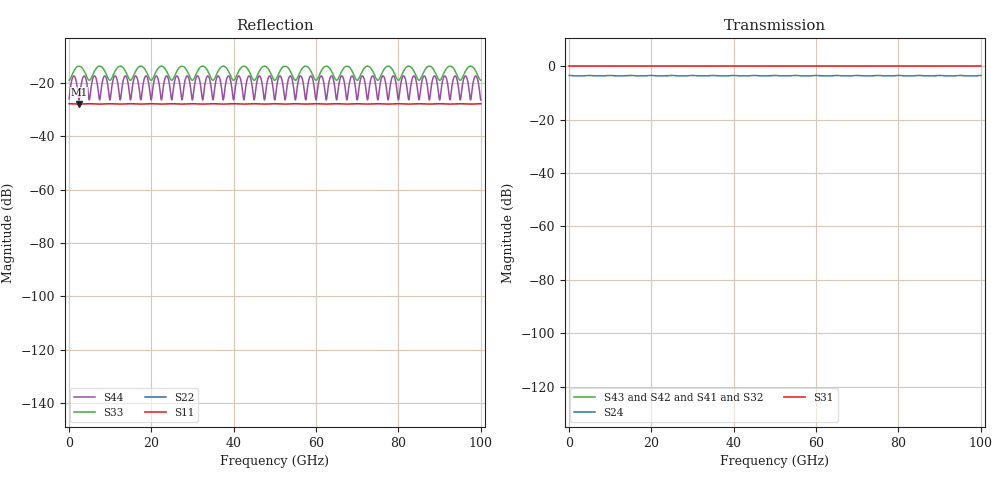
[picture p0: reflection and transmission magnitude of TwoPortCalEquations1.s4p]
! File created by SignalIntegrity v1.1.4: Signal and Power Integrity Tools
! https://github.com/TeledyneLeCroy/SignalIntegrity
# MHz MA S R 50.0
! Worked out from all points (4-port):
!   1000 points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, 100 MHz to 100 GHz, reference 50 ohm
!   strongest paths, dB at 100 MHz, 25.1 GHz, 50.1 GHz, 75.1 GHz, 100 GHz:
!     S31: 0.0, 0.0, 0.0, 0.0, 0.0
!     S24: -3.5, -3.5, -3.5, -3.5, -3.5
!     S43: -, -, -, -, -
!     S42: -, -, -, -, -
!     S41: -, -, -, -, -
!     S32: -, -, -, -, -
!   lowest |S11| = -28.0 dB at 2.5 GHz (marker M1), VSWR 1.08, Z = 54.1 + j0 ohm
!   |S11| at or under -10 dB: start of sweep to end of sweep
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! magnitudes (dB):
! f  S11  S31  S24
! 100 MHz  -27.9  0.0  -3.5
! 1.2 GHz  -27.9  0.0  -3.6
! 2.5 GHz  -28.0  0.0  -3.6
! 3.7 GHz  -27.9  0.0  -3.6
! 5 GHz  -27.9  0.0  -3.5
! 98.8 GHz  -27.9  0.0  -3.6
! 100 GHz  -27.9  0.0  -3.5
